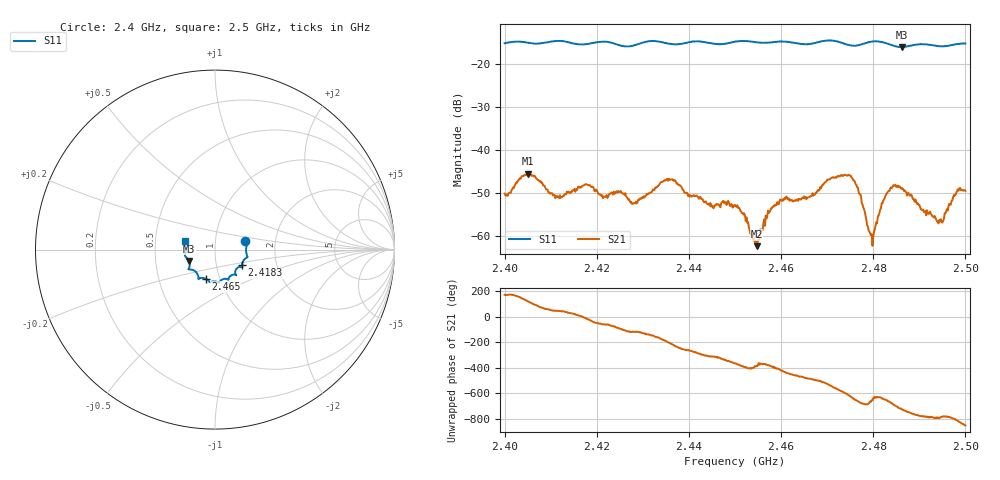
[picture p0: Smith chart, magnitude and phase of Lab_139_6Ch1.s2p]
# Hz S RI R 50
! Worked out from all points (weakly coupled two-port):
!   601 points, 2.4 GHz to 2.5 GHz, reference 50 ohm
!   highest |S21| = -45.50 dB at 2.405 GHz (marker M1); lowest = -62.4 dB at 2.4547 GHz (marker M2)
!   lowest |S11| = -16.0 dB at 2.4862 GHz (marker M3), VSWR 1.37, Z = 37.1 - j4.82 ohm
!   |S11| at or under -10 dB: start of sweep to end of sweep
!   S12 and S22 are empty: the file has one direction only
!   S11 on the Smith chart (normalised r, x): 2.4 GHz: 1.40, +0.13; 2.4183 GHz: 1.33, -0.24; 2.465 GHz: 0.86, -0.29; 2.5 GHz: 0.71, +0.07
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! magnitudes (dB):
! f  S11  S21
! 2.4 GHz  -15.1  -50.2
! 2.405 GHz  -15.0  -45.5
! 2.4113 GHz  -14.6  -50.9
! 2.4167 GHz  -15.4  -48.7
! 2.4183 GHz  -15.2  -48.2
! 2.4282 GHz  -15.6  -52.3
! 2.4333 GHz  -14.7  -48.4
! 2.4365 GHz  -15.4  -46.8
! 2.445 GHz  -15.2  -52.9
! 2.45 GHz  -14.8  -52.8
! 2.4547 GHz  -14.9  -62.4
! 2.4583 GHz  -14.9  -53.2
! 2.465 GHz  -15.4  -50.8
! 2.4667 GHz  -15.2  -50.7
! 2.475 GHz  -15.6  -45.9
! 2.4768 GHz  -15.6  -49.8
! 2.4797 GHz  -14.8  -59.6
! 2.4833 GHz  -15.3  -49.5
! 2.4862 GHz  -16.0  -49.1
! 2.4945 GHz  -15.9  -56.7
! 2.4983 GHz  -15.3  -49.2
! 2.5 GHz  -15.2  -49.5
